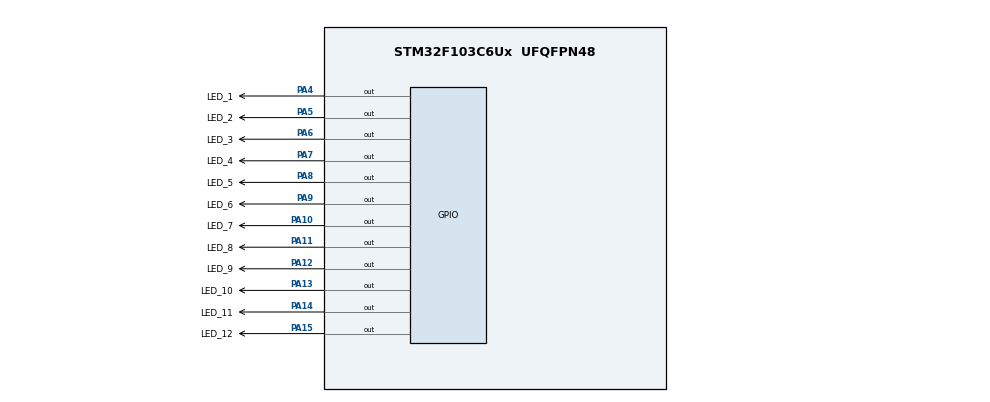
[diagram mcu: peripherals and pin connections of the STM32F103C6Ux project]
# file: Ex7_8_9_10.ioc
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Mcu.Family=STM32F1
Mcu.Name=STM32F103C6Ux
Mcu.Package=UFQFPN48
NVIC.PriorityGroup=NVIC_PRIORITYGROUP_4
PA10.GPIO_Label=LED_7
PA10.Signal=GPIO_Output
PA11.GPIO_Label=LED_8
PA11.Signal=GPIO_Output
PA12.GPIO_Label=LED_9
PA12.Signal=GPIO_Output
PA13.GPIO_Label=LED_10
PA13.Signal=GPIO_Output
PA14.GPIO_Label=LED_11
PA14.Signal=GPIO_Output
PA15.GPIO_Label=LED_12
PA15.Signal=GPIO_Output
PA4.GPIO_Label=LED_1
PA4.Signal=GPIO_Output
PA5.GPIO_Label=LED_2
PA5.Signal=GPIO_Output
PA6.GPIO_Label=LED_3
PA6.Signal=GPIO_Output
PA7.GPIO_Label=LED_4
PA7.Signal=GPIO_Output
PA8.GPIO_Label=LED_5
PA8.Signal=GPIO_Output
PA9.GPIO_Label=LED_6
PA9.Signal=GPIO_Output
ProjectManager.HeapSize=0x200
ProjectManager.StackSize=0x400
ProjectManager.TargetToolchain=STM32CubeIDE
RCC.APB1Freq_Value=8000000
RCC.APB2Freq_Value=8000000
VP_SYS_VS_ND.Mode=No_Debug
board=custom

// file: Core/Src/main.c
/* USER CODE BEGIN Header */
/**
  ******************************************************************************
  * @file           : main.c
  * @brief          : Main program body
  ******************************************************************************
  * @attention
  *
  * <h2><center>&copy; Copyright (c) 2024 STMicroelectronics.
  * All rights reserved.</center></h2>
  *
  * This software component is licensed by ST under BSD 3-Clause license,
  * the "License"; You may not use this file except in compliance with the
  * License. You may obtain a copy of the License at:
  *                        opensource.org/licenses/BSD-3-Clause
  *
  ******************************************************************************
  */
/* USER CODE END Header */
#include "main.h"

void SystemClock_Config(void);
static void MX_GPIO_Init(void);

int main(void)
{

  /* MCU Configuration--------------------------------------------------------*/

  /* Reset of all peripherals, Initializes the Flash interface and the Systick. */
  HAL_Init();

  /* Configure the system clock */
  SystemClock_Config();

  /* Initialize all configured peripherals */
  MX_GPIO_Init();
  /* USER CODE BEGIN 2 */
  void clearAllClock()
  {
	  HAL_GPIO_WritePin(LED_1_GPIO_Port, LED_1_Pin, GPIO_PIN_RESET);
	  HAL_GPIO_WritePin(LED_2_GPIO_Port, LED_2_Pin, GPIO_PIN_RESET);
	  HAL_GPIO_WritePin(LED_3_GPIO_Port, LED_3_Pin, GPIO_PIN_RESET);
	  HAL_GPIO_WritePin(LED_4_GPIO_Port, LED_4_Pin, GPIO_PIN_RESET);
	  HAL_GPIO_WritePin(LED_5_GPIO_Port, LED_5_Pin, GPIO_PIN_RESET);
	  HAL_GPIO_WritePin(LED_6_GPIO_Port, LED_6_Pin, GPIO_PIN_RESET);
	  HAL_GPIO_WritePin(LED_7_GPIO_Port, LED_7_Pin, GPIO_PIN_RESET);
	  HAL_GPIO_WritePin(LED_8_GPIO_Port, LED_8_Pin, GPIO_PIN_RESET);
	  HAL_GPIO_WritePin(LED_9_GPIO_Port, LED_9_Pin, GPIO_PIN_RESET);
	  HAL_GPIO_WritePin(LED_10_GPIO_Port, LED_10_Pin, GPIO_PIN_RESET);
	  HAL_GPIO_WritePin(LED_11_GPIO_Port, LED_11_Pin, GPIO_PIN_RESET);
	  HAL_GPIO_WritePin(LED_12_GPIO_Port, LED_12_Pin, GPIO_PIN_RESET);
  }

  void setNumberOnClock(int num)
  {
	  if (num == 0)
	  {
		  HAL_GPIO_WritePin(LED_12_GPIO_Port, LED_12_Pin, GPIO_PIN_SET);
	  }
	  else if (num == 1)
	  {
		  HAL_GPIO_WritePin(LED_1_GPIO_Port, LED_1_Pin, GPIO_PIN_SET);
	  }
	  else if (num == 2)
	  {
		  HAL_GPIO_WritePin(LED_2_GPIO_Port, LED_2_Pin, GPIO_PIN_SET);
	  }
	  else if (num == 3)
	  {
		  HAL_GPIO_WritePin(LED_3_GPIO_Port, LED_3_Pin, GPIO_PIN_SET);
	  }
	  else if (num == 4)
	  {
		  HAL_GPIO_WritePin(LED_4_GPIO_Port, LED_4_Pin, GPIO_PIN_SET);
	  }
	  else if (num == 5)
	  {
		  HAL_GPIO_WritePin(LED_5_GPIO_Port, LED_5_Pin, GPIO_PIN_SET);
	  }
	  else if (num == 6)
	  {
		  HAL_GPIO_WritePin(LED_6_GPIO_Port, LED_6_Pin, GPIO_PIN_SET);
	  }
	  else if (num == 7)
	  {
		  HAL_GPIO_WritePin(LED_7_GPIO_Port, LED_7_Pin, GPIO_PIN_SET);
	  }
	  else if (num == 8)
  	  {
		  HAL_GPIO_WritePin(LED_8_GPIO_Port, LED_8_Pin, GPIO_PIN_SET);
  	  }
	  else if (num == 9)
	  {
		  HAL_GPIO_WritePin(LED_9_GPIO_Port, LED_9_Pin, GPIO_PIN_SET);
	  }
	  else if (num == 10)
	  {
		  HAL_GPIO_WritePin(LED_10_GPIO_Port, LED_10_Pin, GPIO_PIN_SET);
	  }
	  else if (num == 11)
	  {
		  HAL_GPIO_WritePin(LED_11_GPIO_Port, LED_11_Pin, GPIO_PIN_SET);
	  }
  }

  void clearNumberOnClock(int num)
  {
	  if (num == 0)
	  {
		  HAL_GPIO_WritePin(LED_12_GPIO_Port, LED_12_Pin, GPIO_PIN_RESET);
	  }
	  else if (num == 1)
	  {
		  HAL_GPIO_WritePin(LED_1_GPIO_Port, LED_1_Pin, GPIO_PIN_RESET);
	  }
	  else if (num == 2)
	  {
		  HAL_GPIO_WritePin(LED_2_GPIO_Port, LED_2_Pin, GPIO_PIN_RESET);
	  }
	  else if (num == 3)
	  {
		  HAL_GPIO_WritePin(LED_3_GPIO_Port, LED_3_Pin, GPIO_PIN_RESET);
	  }
	  else if (num == 4)
	  {
		  HAL_GPIO_WritePin(LED_4_GPIO_Port, LED_4_Pin, GPIO_PIN_RESET);
	  }
	  else if (num == 5)
	  {
		  HAL_GPIO_WritePin(LED_5_GPIO_Port, LED_5_Pin, GPIO_PIN_RESET);
	  }
	  else if (num == 6)
	  {
		  HAL_GPIO_WritePin(LED_6_GPIO_Port, LED_6_Pin, GPIO_PIN_RESET);
	  }
	  else if (num == 7)
	  {
		  HAL_GPIO_WritePin(LED_7_GPIO_Port, LED_7_Pin, GPIO_PIN_RESET);
	  }
	  else if (num == 8)
  	  {
		  HAL_GPIO_WritePin(LED_8_GPIO_Port, LED_8_Pin, GPIO_PIN_RESET);
  	  }
	  else if (num == 9)
	  {
		  HAL_GPIO_WritePin(LED_9_GPIO_Port, LED_9_Pin, GPIO_PIN_RESET);
	  }
	  else if (num == 10)
	  {
		  HAL_GPIO_WritePin(LED_10_GPIO_Port, LED_10_Pin, GPIO_PIN_RESET);
	  }
	  else if (num == 11)
	  {
		  HAL_GPIO_WritePin(LED_11_GPIO_Port, LED_11_Pin, GPIO_PIN_RESET);
	  }
  }
  /* USER CODE END 2 */

  /* Infinite loop */
  /* USER CODE BEGIN WHILE */
  int sec;
  int min;
  int hour;
  sec = 0;
  min = 34;
  hour = 9;
  int i;
  for (i = 1; i <= 12; i++)
  	  {
  		  clearNumberOnClock(i);
  	  }
  while (1)
  {
	  clearAllClock();

	  if (sec >= 0 && sec < 5) setNumberOnClock(0);
	  else if (sec >= 5 && sec < 10) setNumberOnClock(1);
	  else if (sec >= 10 && sec < 15) setNumberOnClock(2);
	  else if (sec >= 15 && sec < 20) setNumberOnClock(3);
	  else if (sec >= 20 && sec < 25) setNumberOnClock(4);
	  else if (sec >= 25 && sec < 30) setNumberOnClock(5);
	  else if (sec >= 30 && sec < 35) setNumberOnClock(6);
	  else if (sec >= 35 && sec < 40) setNumberOnClock(7);
	  else if (sec >= 40 && sec < 45) setNumberOnClock(8);
	  else if (sec >= 45 && sec < 50) setNumberOnClock(9);
	  else if (sec >= 50 && sec < 55) setNumberOnClock(10);
	  else if (sec >= 55 && sec < 60) setNumberOnClock(11);

	  if (min >= 0 && min < 5) setNumberOnClock(0);
	  else if (min >= 5 && min < 10) setNumberOnClock(1);
	  else if (min >= 10 && min < 15) setNumberOnClock(2);
	  else if (min >= 15 && min < 20) setNumberOnClock(3);
	  else if (min >= 20 && min < 25) setNumberOnClock(4);
	  else if (min >= 25 && min < 30) setNumberOnClock(5);
	  else if (min >= 30 && min < 35) setNumberOnClock(6);
	  else if (min >= 35 && min < 40) setNumberOnClock(7);
	  else if (min >= 40 && min < 45) setNumberOnClock(8);
	  else if (min >= 45 && min < 50) setNumberOnClock(9);
	  else if (min >= 50 && min < 55) setNumberOnClock(10);
	  else if (min >= 55 && min < 60) setNumberOnClock(11);

	  setNumberOnClock(hour);

	  sec++;

	  if (sec >= 60)
	  {
		  min++;
		  sec = 0;
	  }
	  if (min >= 60)
	  {
		  hour++;
		  min = 0;
	  }
	  if (hour >= 12)
	  {
		  hour = 0;
	  }
	  HAL_Delay(1000);
    /* USER CODE END WHILE */

  }
}

void SystemClock_Config(void)
{
  RCC_OscInitTypeDef RCC_OscInitStruct = {0};
  RCC_ClkInitTypeDef RCC_ClkInitStruct = {0};

  /** Initializes the RCC Oscillators according to the specified parameters
  * in the RCC_OscInitTypeDef structure.
  */
  RCC_OscInitStruct.OscillatorType = RCC_OSCILLATORTYPE_HSI;
  RCC_OscInitStruct.HSIState = RCC_HSI_ON;
  RCC_OscInitStruct.HSICalibrationValue = RCC_HSICALIBRATION_DEFAULT;
  RCC_OscInitStruct.PLL.PLLState = RCC_PLL_NONE;
  if (HAL_RCC_OscConfig(&RCC_OscInitStruct) != HAL_OK)
  {
    Error_Handler();
  }
  /** Initializes the CPU, AHB and APB buses clocks
  */
  RCC_ClkInitStruct.ClockType = RCC_CLOCKTYPE_HCLK|RCC_CLOCKTYPE_SYSCLK
                              |RCC_CLOCKTYPE_PCLK1|RCC_CLOCKTYPE_PCLK2;
  RCC_ClkInitStruct.SYSCLKSource = RCC_SYSCLKSOURCE_HSI;
  RCC_ClkInitStruct.AHBCLKDivider = RCC_SYSCLK_DIV1;
  RCC_ClkInitStruct.APB1CLKDivider = RCC_HCLK_DIV1;
  RCC_ClkInitStruct.APB2CLKDivider = RCC_HCLK_DIV1;

  if (HAL_RCC_ClockConfig(&RCC_ClkInitStruct, FLASH_LATENCY_0) != HAL_OK)
  {
    Error_Handler();
  }
}

static void MX_GPIO_Init(void)
{
  GPIO_InitTypeDef GPIO_InitStruct = {0};

  /* GPIO Ports Clock Enable */
  __HAL_RCC_GPIOA_CLK_ENABLE();

  /*Configure GPIO pin Output Level */
  HAL_GPIO_WritePin(GPIOA, LED_1_Pin|LED_2_Pin|LED_3_Pin|LED_4_Pin
                          |LED_5_Pin|LED_6_Pin|LED_7_Pin|LED_8_Pin
                          |LED_9_Pin|LED_10_Pin|LED_11_Pin|LED_12_Pin, GPIO_PIN_RESET);

  /*Configure GPIO pins : LED_1_Pin LED_2_Pin LED_3_Pin LED_4_Pin
                           LED_5_Pin LED_6_Pin LED_7_Pin LED_8_Pin
                           LED_9_Pin LED_10_Pin LED_11_Pin LED_12_Pin */
  GPIO_InitStruct.Pin = LED_1_Pin|LED_2_Pin|LED_3_Pin|LED_4_Pin
                          |LED_5_Pin|LED_6_Pin|LED_7_Pin|LED_8_Pin
                          |LED_9_Pin|LED_10_Pin|LED_11_Pin|LED_12_Pin;
  GPIO_InitStruct.Mode = GPIO_MODE_OUTPUT_PP;
  GPIO_InitStruct.Pull = GPIO_NOPULL;
  GPIO_InitStruct.Speed = GPIO_SPEED_FREQ_LOW;
  HAL_GPIO_Init(GPIOA, &GPIO_InitStruct);

}

void Error_Handler(void)
{
  __disable_irq();
  while (1)
  {
  }
}

/************************ (C) COPYRIGHT STMicroelectronics *****END OF FILE****/
